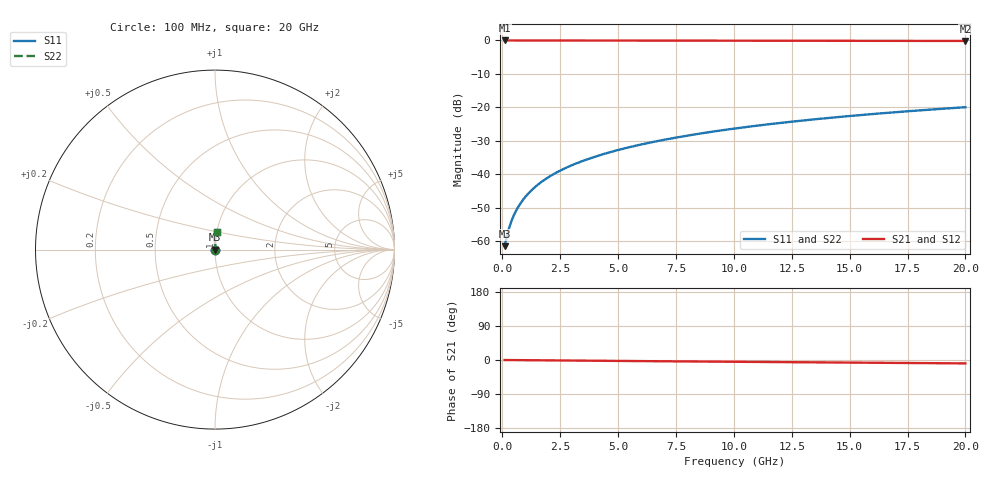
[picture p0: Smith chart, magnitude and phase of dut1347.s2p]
! Touchstone file exported from HFSS 2024.1.0
!  File:  C:/UserFiles/LocalFiles/RDL_TSV_Batchsim/temp_RDL_top_1347_1780366071.aedt
!  Generated:  10:10:07 AM Jun  2, 2026
!  Design:  RDL_top
!  Project:  temp_RDL_top_1347_1780366071
!  Setup:  Setup1
!  Solution:  Sweep
! Variables:
!  dtsv = 10.80580581um
!  hbump = 3um
!  htsv = 67.04um
!  ldown = 100um
!  lrdl = 107.41um
!  p = 40
!  p1 = 41.32um
!  rhole = 1um
!  t = 450um
!  tdown = 3.915915916um
!  trdl = 3.88um
!  wdown = 15.38538539um
!  wrdl = 19.88um
# GHz S MA R 50.000000
! Terminal data exported
! Port[1] = Box2_T1
! Port[2] = Box2_T2
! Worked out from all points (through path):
!   200 points, 100 MHz to 20 GHz, reference 50 ohm
!   highest |S21| = -0.01 dB at 100 MHz (marker M1); lowest = -0.2 dB at 20 GHz (marker M2)
!   group delay of S21, straight-line fit = 1.23 ps
!   lowest |S11| = -61.4 dB at 100 MHz (marker M3), VSWR 1.00, Z = 50.1 + j0.0497 ohm
!   |S11| at or under -10 dB: start of sweep to end of sweep
!   |S22| runs from -61.4 to -19.9 dB; largest |S21 - S12| = 3.1e-15
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0.1  0.0008495 35.8  0.9993 -0.1  0.9993 -0.1  0.0008495 35.8
! Gamma 0 0 0 0
! Port Impedance 50 0 50 0
0.2  0.001212 53.7  0.9993 -0.1  0.9993 -0.1  0.001212 53.7
0.3  0.00162 62.5  0.9992 -0.2  0.9992 -0.2  0.00162 62.5
0.4  0.00204 67.8  0.9992 -0.2  0.9992 -0.2  0.00204 67.8
0.5  0.002464 71.4  0.9992 -0.3  0.9992 -0.3  0.002464 71.4
0.6  0.002893 74.1  0.9991 -0.3  0.9991 -0.3  0.002893 74.1
0.8  0.003761 77.7  0.9991 -0.4  0.9991 -0.4  0.003761 77.7
1.1  0.005081 81.0  0.999 -0.6  0.999 -0.6  0.005081 81.0
1.3  0.005971 82.4  0.9989 -0.7  0.9989 -0.7  0.005971 82.4
1.6  0.007315 84.0  0.9988 -0.8  0.9988 -0.8  0.007315 84.0
2.1  0.009576 85.6  0.9986 -1.1  0.9986 -1.1  0.009576 85.6
2.7  0.01232 86.9  0.9983 -1.4  0.9983 -1.4  0.01232 86.9
3.5  0.01603 88.0  0.9977 -1.7  0.9977 -1.7  0.01603 88.0
4.2  0.01932 88.6  0.9971 -2.1  0.9971 -2.1  0.01932 88.6
5  0.02314 89.1  0.9964 -2.5  0.9964 -2.5  0.02314 89.1
5.9  0.02751 89.4  0.9956 -2.9  0.9956 -2.9  0.02751 89.4
6.8  0.03196 89.5  0.9947 -3.3  0.9947 -3.3  0.03196 89.5
8.4  0.04002 89.4  0.9931 -4.0  0.9931 -4.0  0.04002 89.4
10.1  0.04877 89.1  0.9914 -4.8  0.9914 -4.8  0.04877 89.1
13.4  0.06603 87.8  0.9882 -6.2  0.9882 -6.2  0.06603 87.8
16.7  0.08342 86.3  0.9853 -7.6  0.9853 -7.6  0.08342 86.3
20  0.1008 84.6  0.9824 -9.0  0.9824 -9.0  0.1008 84.6
